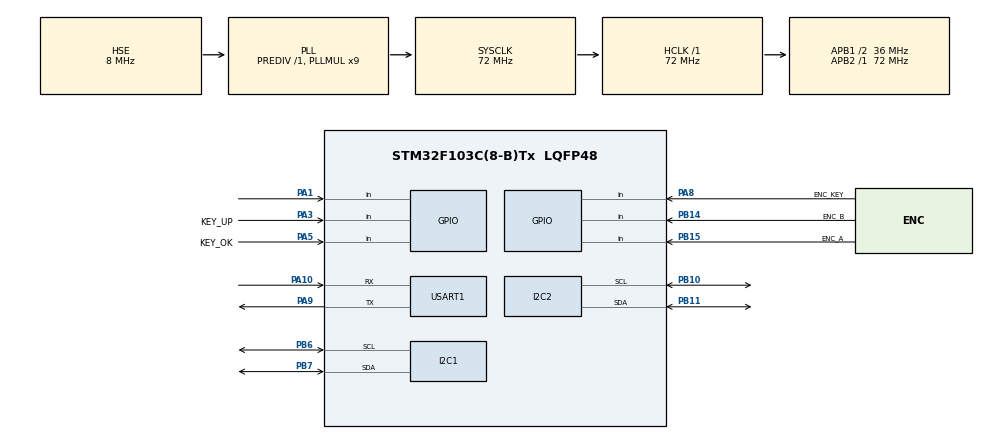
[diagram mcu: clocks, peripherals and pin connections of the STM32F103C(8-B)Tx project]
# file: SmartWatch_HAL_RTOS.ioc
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FREERTOS.Tasks01=defaultTask,0,128,StartDefaultTask,Default,NULL,Dynamic,NULL,NULL
Mcu.Family=STM32F1
Mcu.Name=STM32F103C(8-B)Tx
Mcu.Package=LQFP48
NVIC.PriorityGroup=NVIC_PRIORITYGROUP_4
NVIC.TIM2_IRQn=true\:15\:0\:false\:false\:true\:false\:false\:true\:true
NVIC.TimeBase=TIM2_IRQn
NVIC.TimeBaseIP=TIM2
PA1.GPIO_PuPd=GPIO_PULLUP
PA1.Signal=GPIO_Input
PA10.Mode=Asynchronous
PA10.Signal=USART1_RX
PA13.Mode=Serial_Wire
PA13.Signal=SYS_JTMS-SWDIO
PA14.Mode=Serial_Wire
PA14.Signal=SYS_JTCK-SWCLK
PA3.GPIO_Label=KEY_UP
PA3.GPIO_PuPd=GPIO_PULLUP
PA3.Signal=GPIO_Input
PA5.GPIO_Label=KEY_OK
PA5.GPIO_PuPd=GPIO_PULLUP
PA5.Signal=GPIO_Input
PA8.GPIO_Label=ENC_KEY
PA8.GPIO_PuPd=GPIO_PULLUP
PA8.Signal=GPIO_Input
PA9.Mode=Asynchronous
PA9.Signal=USART1_TX
PB10.Mode=I2C
PB10.Signal=I2C2_SCL
PB11.Mode=I2C
PB11.Signal=I2C2_SDA
PB14.GPIO_Label=ENC_B
PB14.GPIO_PuPd=GPIO_PULLUP
PB14.Signal=GPIO_Input
PB15.GPIO_Label=ENC_A
PB15.GPIO_PuPd=GPIO_PULLUP
PB15.Signal=GPIO_Input
PB6.Mode=I2C
PB6.Signal=I2C1_SCL
PB7.Mode=I2C
PB7.Signal=I2C1_SDA
PD0-OSC_IN.Mode=HSE-External-Oscillator
PD0-OSC_IN.Signal=RCC_OSC_IN
PD1-OSC_OUT.Mode=HSE-External-Oscillator
PD1-OSC_OUT.Signal=RCC_OSC_OUT
ProjectManager.HeapSize=0x200
ProjectManager.StackSize=0x400
ProjectManager.TargetToolchain=STM32CubeIDE
RCC.AHBFreq_Value=72000000
RCC.APB1CLKDivider=RCC_HCLK_DIV2
RCC.APB1Freq_Value=36000000
RCC.APB1TimFreq_Value=72000000
RCC.APB2Freq_Value=72000000
RCC.APB2TimFreq_Value=72000000
RCC.HCLKFreq_Value=72000000
RCC.PLLMUL=RCC_PLL_MUL9
RCC.PLLSourceVirtual=RCC_PLLSOURCE_HSE
RCC.SYSCLKFreq_VALUE=72000000
RCC.SYSCLKSource=RCC_SYSCLKSOURCE_PLLCLK
RCC.USBFreq_Value=72000000
USART1.VirtualMode=VM_ASYNC
VP_FREERTOS_VS_CMSIS_V1.Mode=CMSIS_V1
VP_SYS_VS_tim2.Mode=TIM2
board=custom

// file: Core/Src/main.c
/* USER CODE BEGIN Header */
/**
  ******************************************************************************
  * @file           : main.c
  * @brief          : Main program body
  ******************************************************************************
  * @attention
  *
  * Copyright (c) 2026 STMicroelectronics.
  * All rights reserved.
  *
  * This software is licensed under terms that can be found in the LICENSE file
  * in the root directory of this software component.
  * If no LICENSE file comes with this software, it is provided AS-IS.
  *
  ******************************************************************************
  */
/* USER CODE END Header */
#include "main.h"
#include "cmsis_os.h"
#include "i2c.h"
#include "usart.h"
#include "gpio.h"

/* USER CODE BEGIN Includes */
#include "oled.h"

/* USER CODE END Includes */

void SystemClock_Config(void);
void MX_FREERTOS_Init(void);
/* USER CODE BEGIN PFP */
extern osThreadId defaultTaskHandle;
extern osThreadId clockTaskHandle;
extern osThreadId bluetoothTaskHandle;
extern osThreadId sensorTaskHandle;
extern osThreadId uiTaskHandle;

/* USER CODE END PFP */

int main(void)
{

  /* MCU Configuration--------------------------------------------------------*/

  /* Reset of all peripherals, Initializes the Flash interface and the Systick. */
  HAL_Init();

  /* Configure the system clock */
  SystemClock_Config();

  /* Initialize all configured peripherals */
  MX_GPIO_Init();
  MX_I2C1_Init();
  MX_USART1_UART_Init();
  MX_I2C2_Init();
  /* USER CODE BEGIN 2 */
  OLED_Init();

  /* USER CODE END 2 */

  /* Call init function for freertos objects (in cmsis_os2.c) */
  MX_FREERTOS_Init();

  /* Start scheduler */
  osKernelStart();

  /* We should never get here as control is now taken by the scheduler */

  /* Infinite loop */
  while (1)
  {

  }
}

void SystemClock_Config(void)
{
  RCC_OscInitTypeDef RCC_OscInitStruct = {0};
  RCC_ClkInitTypeDef RCC_ClkInitStruct = {0};

  /** Initializes the RCC Oscillators according to the specified parameters
  * in the RCC_OscInitTypeDef structure.
  */
  RCC_OscInitStruct.OscillatorType = RCC_OSCILLATORTYPE_HSE;
  RCC_OscInitStruct.HSEState = RCC_HSE_ON;
  RCC_OscInitStruct.HSEPredivValue = RCC_HSE_PREDIV_DIV1;
  RCC_OscInitStruct.HSIState = RCC_HSI_ON;
  RCC_OscInitStruct.PLL.PLLState = RCC_PLL_ON;
  RCC_OscInitStruct.PLL.PLLSource = RCC_PLLSOURCE_HSE;
  RCC_OscInitStruct.PLL.PLLMUL = RCC_PLL_MUL9;
  if (HAL_RCC_OscConfig(&RCC_OscInitStruct) != HAL_OK)
  {
    Error_Handler();
  }

  /** Initializes the CPU, AHB and APB buses clocks
  */
  RCC_ClkInitStruct.ClockType = RCC_CLOCKTYPE_HCLK|RCC_CLOCKTYPE_SYSCLK
                              |RCC_CLOCKTYPE_PCLK1|RCC_CLOCKTYPE_PCLK2;
  RCC_ClkInitStruct.SYSCLKSource = RCC_SYSCLKSOURCE_PLLCLK;
  RCC_ClkInitStruct.AHBCLKDivider = RCC_SYSCLK_DIV1;
  RCC_ClkInitStruct.APB1CLKDivider = RCC_HCLK_DIV2;
  RCC_ClkInitStruct.APB2CLKDivider = RCC_HCLK_DIV1;

  if (HAL_RCC_ClockConfig(&RCC_ClkInitStruct, FLASH_LATENCY_2) != HAL_OK)
  {
    Error_Handler();
  }
}

void HAL_TIM_PeriodElapsedCallback(TIM_HandleTypeDef *htim)
{
  if (htim->Instance == TIM2)
  {
    HAL_IncTick();
  }
}

void Error_Handler(void)
{
  __disable_irq();
  while (1)
  {
  }
}

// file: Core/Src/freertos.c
/* USER CODE BEGIN Header */
/**
  ******************************************************************************
  * File Name          : freertos.c
  * Description        : Code for freertos applications
  ******************************************************************************
  * @attention
  *
  * Copyright (c) 2026 STMicroelectronics.
  * All rights reserved.
  *
  * This software is licensed under terms that can be found in the LICENSE file
  * in the root directory of this software component.
  * If no LICENSE file comes with this software, it is provided AS-IS.
  *
  ******************************************************************************
  */
/* USER CODE END Header */

#include "FreeRTOS.h"
#include "task.h"
#include "main.h"
#include "cmsis_os.h"

/* USER CODE BEGIN Includes */
#include "mpu6050.h"
#include "oled.h"
#include "usart.h"

/* USER CODE END Includes */

/* USER CODE BEGIN Variables */
static volatile uint32_t g_uptime_seconds = 0;
osThreadId clockTaskHandle;
osThreadId bluetoothTaskHandle;
osThreadId sensorTaskHandle;
osThreadId uiTaskHandle;

/* USER CODE END Variables */
osThreadId defaultTaskHandle;

/* USER CODE BEGIN FunctionPrototypes */
void StartClockTask(void const * argument);
void StartBluetoothTask(void const * argument);
void StartSensorTask(void const * argument);
void StartUiTask(void const * argument);

/* USER CODE END FunctionPrototypes */

void StartDefaultTask(void const * argument);

void MX_FREERTOS_Init(void); /* (MISRA C 2004 rule 8.1) */

/* GetIdleTaskMemory prototype (linked to static allocation support) */
void vApplicationGetIdleTaskMemory( StaticTask_t **ppxIdleTaskTCBBuffer, StackType_t **ppxIdleTaskStackBuffer, uint32_t *pulIdleTaskStackSize );

/* USER CODE BEGIN GET_IDLE_TASK_MEMORY */
static StaticTask_t xIdleTaskTCBBuffer;
static StackType_t xIdleStack[configMINIMAL_STACK_SIZE];

void vApplicationGetIdleTaskMemory( StaticTask_t **ppxIdleTaskTCBBuffer, StackType_t **ppxIdleTaskStackBuffer, uint32_t *pulIdleTaskStackSize )
{
  *ppxIdleTaskTCBBuffer = &xIdleTaskTCBBuffer;
  *ppxIdleTaskStackBuffer = &xIdleStack[0];
  *pulIdleTaskStackSize = configMINIMAL_STACK_SIZE;
  /* place for user code */
}
/* USER CODE END GET_IDLE_TASK_MEMORY */

void MX_FREERTOS_Init(void) {

  /* Create the thread(s) */
  /* definition and creation of defaultTask */
  osThreadDef(defaultTask, StartDefaultTask, osPriorityNormal, 0, 128);
  defaultTaskHandle = osThreadCreate(osThread(defaultTask), NULL);

  /* USER CODE BEGIN RTOS_THREADS */
  /* add threads, ... */
  osThreadDef(clockTask, StartClockTask, osPriorityNormal, 0, 128);
  clockTaskHandle = osThreadCreate(osThread(clockTask), NULL);

  osThreadDef(bluetoothTask, StartBluetoothTask, osPriorityBelowNormal, 0, 128);
  bluetoothTaskHandle = osThreadCreate(osThread(bluetoothTask), NULL);

  osThreadDef(sensorTask, StartSensorTask, osPriorityNormal, 0, 128);
  sensorTaskHandle = osThreadCreate(osThread(sensorTask), NULL);

  osThreadDef(uiTask, StartUiTask, osPriorityAboveNormal, 0, 256);
  uiTaskHandle = osThreadCreate(osThread(uiTask), NULL);
  /* USER CODE END RTOS_THREADS */

}

void StartDefaultTask(void const * argument)
{
  for(;;)
  {
    osDelay(1);
  }
}

/* USER CODE BEGIN Application */
#define UI_PAGE_COUNT 5U
#define UI_MENU_ITEM_COUNT 4U
#define UI_MENU_VISIBLE_COUNT 4U
#define UI_MENU_CURSOR_X 0U
#define UI_MENU_TEXT_X 18U
#define UI_MENU_FIRST_PAGE 1U
#define UI_MENU_PAGE_STEP 2U
#define ENCODER_STEPS_PER_UI_MOVE 4
#define CLOCK_DAY_SECONDS 86400U
#define STEP_HIGH_THRESHOLD_SQ 420000000UL
#define STEP_LOW_THRESHOLD_SQ 330000000UL
#define STEP_COOLDOWN_SAMPLES 1U

typedef enum {
  CLOCK_FIELD_HOUR = 0,
  CLOCK_FIELD_MINUTE,
  CLOCK_FIELD_SECOND
} ClockField;

static volatile uint32_t g_stopwatch_seconds = 0;
static volatile uint8_t g_stopwatch_running = 0;
static volatile uint32_t g_clock_seconds = 12U * 3600U;
static volatile uint8_t g_mpu_ready = 0;
static volatile uint8_t g_mpu_whoami = 0;
static volatile MPU6050_Data g_mpu_data;
static volatile uint32_t g_step_count = 0;
static volatile uint32_t g_step_motion = 0;
static volatile uint8_t g_step_active = 0;

static uint8_t Key_IsPressed(GPIO_TypeDef *port, uint16_t pin)
{
  return HAL_GPIO_ReadPin(port, pin) == GPIO_PIN_RESET;
}

static uint8_t Ui_MenuMove(uint8_t selection, int8_t encoder_step)
{
  if (encoder_step > 0) {
    return (uint8_t)((selection + 1U) % UI_MENU_ITEM_COUNT);
  }
  if (encoder_step < 0) {
    if (selection == 0U) {
      return (uint8_t)(UI_MENU_ITEM_COUNT - 1U);
    }
    return (uint8_t)(selection - 1U);
  }

  return selection;
}

static uint8_t Ui_MenuSelectionToPage(uint8_t selection)
{
  return (uint8_t)(selection + 1U);
}

static uint8_t Encoder_ReadState(void)
{
  uint8_t a = Key_IsPressed(ENC_A_GPIO_Port, ENC_A_Pin);
  uint8_t b = Key_IsPressed(ENC_B_GPIO_Port, ENC_B_Pin);

  return (uint8_t)((a << 1U) | b);
}

static int8_t Encoder_GetStep(void)
{
  static const int8_t transition_table[16] = {
    0, -1, 1, 0,
    1, 0, 0, -1,
    -1, 0, 0, 1,
    0, 1, -1, 0
  };
  static uint8_t last_state = 0xFFU;
  static int8_t accumulator = 0;
  uint8_t state = Encoder_ReadState();
  int8_t movement;

  if (last_state == 0xFFU) {
    last_state = state;
    return 0;
  }

  movement = transition_table[(last_state << 2U) | state];
  last_state = state;

  if (movement == 0) {
    return 0;
  }

  accumulator = (int8_t)(accumulator + movement);
  if (accumulator >= ENCODER_STEPS_PER_UI_MOVE) {
    accumulator = 0;
    return 1;
  }
  if (accumulator <= -ENCODER_STEPS_PER_UI_MOVE) {
    accumulator = 0;
    return -1;
  }

  return 0;
}

static void Ui_ShowTimeLarge(uint8_t x, uint8_t page, uint32_t seconds)
{
  char text[9];
  uint8_t hour = (uint8_t)((seconds / 3600U) % 24U);
  uint8_t minute = (uint8_t)((seconds / 60U) % 60U);
  uint8_t second = (uint8_t)(seconds % 60U);

  text[0] = (char)('0' + (hour / 10U));
  text[1] = (char)('0' + (hour % 10U));
  text[2] = ':';
  text[3] = (char)('0' + (minute / 10U));
  text[4] = (char)('0' + (minute % 10U));
  text[5] = ':';
  text[6] = (char)('0' + (second / 10U));
  text[7] = (char)('0' + (second % 10U));
  text[8] = '\0';

  OLED_ShowString2x(x, page, text);
}

static void Ui_ClearLine(uint8_t page)
{
  OLED_ShowString(0, page, "                     ");
}

static void Ui_ShowStopwatchStatus(void)
{
  Ui_ClearLine(6);
  OLED_ShowString(0, 6, g_stopwatch_running ? "Running" : "Paused");
}

static void Ui_ShowI16Fixed(uint8_t x, uint8_t page, int16_t value)
{
  char text[7];
  uint8_t index = 6U;
  uint16_t magnitude;

  text[6] = '\0';
  for (uint8_t i = 0; i < 6U; i++) {
    text[i] = ' ';
  }

  if (value < 0) {
    magnitude = (uint16_t)(-value);
  } else {
    magnitude = (uint16_t)value;
  }

  do {
    text[--index] = (char)('0' + (magnitude % 10U));
    magnitude /= 10U;
  } while (magnitude > 0U && index > 1U);

  if (value < 0 && index > 0U) {
    text[--index] = '-';
  }

  OLED_ShowString(x, page, text);
}

static void Ui_ShowU32Field(uint8_t x, uint8_t page, uint32_t value)
{
  char text[11];
  uint8_t index = 10U;

  text[10] = '\0';
  for (uint8_t i = 0; i < 10U; i++) {
    text[i] = ' ';
  }

  do {
    text[--index] = (char)('0' + (value % 10U));
    value /= 10U;
  } while (value > 0U && index > 0U);

  OLED_ShowString(x, page, text);
}

static void Ui_ShowClockTitle(uint8_t edit_mode)
{
  Ui_ClearLine(0);
  OLED_ShowString(0, 0, edit_mode ? "Clock Set" : "Clock");
}

static void Clock_AddSelectedField(ClockField field)
{
  uint32_t hour = (g_clock_seconds / 3600U) % 24U;
  uint32_t minute = (g_clock_seconds / 60U) % 60U;
  uint32_t second = g_clock_seconds % 60U;

  if (field == CLOCK_FIELD_HOUR) {
    hour = (hour + 1U) % 24U;
  } else if (field == CLOCK_FIELD_MINUTE) {
    minute = (minute + 1U) % 60U;
  } else {
    second = (second + 1U) % 60U;
  }

  g_clock_seconds = (hour * 3600U) + (minute * 60U) + second;
}

static ClockField Clock_NextField(ClockField field)
{
  return (ClockField)((field + 1U) % 3U);
}

static void Ui_ShowClockStatus(uint8_t edit_mode, ClockField field)
{
  Ui_ClearLine(6);

  if (!edit_mode) {
    OLED_ShowString(0, 6, "Normal");
  } else if (field == CLOCK_FIELD_HOUR) {
    OLED_ShowString(0, 6, "Set Hour");
  } else if (field == CLOCK_FIELD_MINUTE) {
    OLED_ShowString(0, 6, "Set Min");
  } else {
    OLED_ShowString(0, 6, "Set Sec");
  }
}

static void Ui_ShowSensorValues(void)
{
  MPU6050_Data data;

  data = g_mpu_data;

  OLED_ShowString(0, 2, "AX:");
  Ui_ShowI16Fixed(18, 2, data.ax);

  OLED_ShowString(0, 4, "AY:");
  Ui_ShowI16Fixed(18, 4, data.ay);

  OLED_ShowString(0, 6, "AZ:");
  Ui_ShowI16Fixed(18, 6, data.az);
}

static uint32_t Step_SquareI16(int16_t value)
{
  int32_t wide = value;

  return (uint32_t)(wide * wide);
}

static void Step_Update(const MPU6050_Data *data)
{
  static uint8_t cooldown = 0;
  uint32_t magnitude_sq;

  magnitude_sq = Step_SquareI16(data->ax) + Step_SquareI16(data->ay) + Step_SquareI16(data->az);
  g_step_motion = magnitude_sq / 1000000UL;

  if (cooldown > 0U) {
    cooldown--;
  }

  if (g_step_active) {
    if (magnitude_sq < STEP_LOW_THRESHOLD_SQ) {
      g_step_active = 0;
    }
  } else if (cooldown == 0U && magnitude_sq > STEP_HIGH_THRESHOLD_SQ) {
    g_step_count++;
    g_step_active = 1;
    cooldown = STEP_COOLDOWN_SAMPLES;
  }
}

static void Ui_ShowStepCount(void)
{
  OLED_ShowString(0, 2, "Steps:");
  Ui_ShowU32Field(42, 2, g_step_count);
}

static void Ui_ShowStepMotion(void)
{
  OLED_ShowString(0, 4, "Move:");
  Ui_ShowU32Field(36, 4, g_step_motion);
}

static void Ui_ShowStepStatus(void)
{
  Ui_ClearLine(6);
  OLED_ShowString(0, 6, g_step_active ? "Step Active" : "Ready");
}

static void Ui_ShowStepValues(void)
{
  Ui_ShowStepCount();
  Ui_ShowStepMotion();
  Ui_ShowStepStatus();
}

static const char *Ui_GetMenuItem(uint8_t index)
{
  static const char *items[UI_MENU_ITEM_COUNT] = {
    "Stopwatch",
    "Clock",
    "MPU6050",
    "Steps"
  };

  return items[index];
}

static uint8_t Ui_GetMenuTop(uint8_t selection)
{
  uint8_t top = 0U;

  if (selection >= (UI_MENU_VISIBLE_COUNT - 1U)) {
    top = (uint8_t)(selection - (UI_MENU_VISIBLE_COUNT - 1U));
  }
  if (top > (UI_MENU_ITEM_COUNT - UI_MENU_VISIBLE_COUNT)) {
    top = (uint8_t)(UI_MENU_ITEM_COUNT - UI_MENU_VISIBLE_COUNT);
  }

  return top;
}

static uint8_t Ui_GetMenuRow(uint8_t top, uint8_t selection)
{
  return (uint8_t)(selection - top);
}

static uint8_t Ui_GetMenuPage(uint8_t row)
{
  return (uint8_t)(UI_MENU_FIRST_PAGE + (row * UI_MENU_PAGE_STEP));
}

static void Ui_DrawMenuCursor(uint8_t row, uint8_t selected)
{
  uint8_t page = Ui_GetMenuPage(row);

  OLED_ShowString(UI_MENU_CURSOR_X, page, selected ? "->" : "  ");
}

static void Ui_UpdateMenuCursor(uint8_t old_selection, uint8_t new_selection)
{
  uint8_t old_top = Ui_GetMenuTop(old_selection);
  uint8_t new_top = Ui_GetMenuTop(new_selection);

  if (old_top != new_top) {
    return;
  }

  Ui_DrawMenuCursor(Ui_GetMenuRow(old_top, old_selection), 0U);
  Ui_DrawMenuCursor(Ui_GetMenuRow(new_top, new_selection), 1U);
}

static void Ui_DrawMenu(uint8_t selection)
{
  uint8_t top = Ui_GetMenuTop(selection);

  OLED_Clear();
  OLED_ShowString(0, 0, "Smart Watch Menu");

  for (uint8_t row = 0U; row < UI_MENU_VISIBLE_COUNT; row++) {
    uint8_t item = (uint8_t)(top + row);
    uint8_t page = Ui_GetMenuPage(row);
    Ui_DrawMenuCursor(row, item == selection);
    OLED_ShowString(UI_MENU_TEXT_X, page, Ui_GetMenuItem(item));
  }
}

static void Bluetooth_SendText(const char *text)
{
  uint16_t length = 0U;

  while (text[length] != '\0') {
    length++;
  }

  if (length > 0U) {
    HAL_UART_Transmit(&huart1, (uint8_t *)text, length, 100);
  }
}

static void Bluetooth_SendU32(uint32_t value)
{
  char text[11];
  uint8_t index = 10U;

  text[index] = '\0';
  do {
    index--;
    text[index] = (char)('0' + (value % 10U));
    value /= 10U;
  } while (value > 0U && index > 0U);

  Bluetooth_SendText(&text[index]);
}

static void Bluetooth_SendI16(int16_t value)
{
  uint16_t magnitude;

  if (value < 0) {
    Bluetooth_SendText("-");
    magnitude = (uint16_t)(-value);
  } else {
    magnitude = (uint16_t)value;
  }

  Bluetooth_SendU32(magnitude);
}

static void Bluetooth_Send2Digits(uint8_t value)
{
  char text[3];

  text[0] = (char)('0' + (value / 10U));
  text[1] = (char)('0' + (value % 10U));
  text[2] = '\0';
  Bluetooth_SendText(text);
}

static void Bluetooth_SendStepLine(uint32_t step_count)
{
  char text[24];
  char digits[11];
  uint8_t text_index = 0U;
  uint8_t digit_index = 10U;

  text[text_index++] = 'S';
  text[text_index++] = 't';
  text[text_index++] = 'e';
  text[text_index++] = 'p';
  text[text_index++] = 's';
  text[text_index++] = ':';
  text[text_index++] = ' ';

  digits[digit_index] = '\0';
  do {
    digit_index--;
    digits[digit_index] = (char)('0' + (step_count % 10U));
    step_count /= 10U;
  } while (step_count > 0U && digit_index > 0U);

  while (digits[digit_index] != '\0') {
    text[text_index++] = digits[digit_index++];
  }

  text[text_index++] = '\r';
  text[text_index++] = '\n';
  text[text_index] = '\0';

  Bluetooth_SendText(text);
}

static void Bluetooth_SendStatus(void)
{
  MPU6050_Data data = g_mpu_data;
  uint32_t seconds = g_clock_seconds;

  Bluetooth_SendStepLine(g_step_count);
  Bluetooth_SendText("Time: ");
  Bluetooth_Send2Digits((uint8_t)((seconds / 3600U) % 24U));
  Bluetooth_SendText(":");
  Bluetooth_Send2Digits((uint8_t)((seconds / 60U) % 60U));
  Bluetooth_SendText(":");
  Bluetooth_Send2Digits((uint8_t)(seconds % 60U));
  Bluetooth_SendText("\r\nAX: ");
  Bluetooth_SendI16(data.ax);
  Bluetooth_SendText("  AY: ");
  Bluetooth_SendI16(data.ay);
  Bluetooth_SendText("  AZ: ");
  Bluetooth_SendI16(data.az);
  Bluetooth_SendText("\r\n\r\n");
}

static void Ui_DrawPage(uint8_t page, uint32_t uptime_seconds, uint8_t edit_mode, ClockField field)
{
  if (page == 0U) {
    return;
  }

  OLED_Clear();

  switch (page) {
    case 0:
      OLED_ShowString(0, 0, "Smart Watch");
      OLED_ShowString(0, 2, "FreeRTOS OK");
      OLED_ShowString(0, 4, "Uptime:");
      OLED_ShowU32(48, 4, uptime_seconds);
      OLED_ShowString(84, 4, "s");
      break;

    case 1:
      OLED_ShowString(0, 0, "Stop Watch");
      Ui_ShowTimeLarge(16, 2, g_stopwatch_seconds);
      Ui_ShowStopwatchStatus();
      break;

    case 2:
      Ui_ShowClockTitle(edit_mode);
      Ui_ShowTimeLarge(16, 2, g_clock_seconds);
      Ui_ShowClockStatus(edit_mode, field);
      break;

    case 3:
      OLED_ShowString(0, 0, g_mpu_ready ? "MPU6050 OK" : "MPU6050 ERR");
      if (g_mpu_ready) {
        Ui_ShowSensorValues();
      } else {
        OLED_ShowString(0, 2, "WHO:");
        OLED_ShowU32(30, 2, g_mpu_whoami);
        OLED_ShowString(0, 4, "Check I2C2");
      }
      break;

    default:
      OLED_ShowString(0, 0, "Step Data");
      Ui_ShowStepValues();
      break;
  }
}

void StartClockTask(void const * argument)
{
  (void)argument;

  for (;;) {
    osDelay(1000);
    g_uptime_seconds++;
    if (g_stopwatch_running) {
      g_stopwatch_seconds++;
    }
    g_clock_seconds = (g_clock_seconds + 1U) % CLOCK_DAY_SECONDS;
  }
}

void StartBluetoothTask(void const * argument)
{
  (void)argument;
  uint8_t rx;
  uint32_t last_sent_step_count = g_step_count;

  for (;;) {
    while (HAL_UART_Receive(&huart1, &rx, 1, 0) == HAL_OK) {
      if (rx == 'C' || rx == 'c') {
        g_step_count = 0;
        last_sent_step_count = 0;
        Bluetooth_SendText("OK,CLEAR\r\n");
      } else if (rx == 'S' || rx == 's') {
        Bluetooth_SendStatus();
        last_sent_step_count = g_step_count;
      }
    }

    if (g_step_count > last_sent_step_count) {
      last_sent_step_count = g_step_count;
      Bluetooth_SendStepLine(last_sent_step_count);
    } else if (g_step_count < last_sent_step_count) {
      last_sent_step_count = g_step_count;
    }

    osDelay(100);
  }
}

void StartSensorTask(void const * argument)
{
  (void)argument;
  MPU6050_Data data;
  uint8_t id = 0;

  osDelay(300);
  g_mpu_ready = MPU6050_Init();
  if (MPU6050_ReadWhoAmI(&id)) {
    g_mpu_whoami = id;
  }

  for (;;) {
    if (g_mpu_ready && MPU6050_ReadData(&data)) {
      g_mpu_data = data;
      Step_Update(&data);
    } else {
      g_mpu_ready = 0;
      if (MPU6050_ReadWhoAmI(&id)) {
        g_mpu_whoami = id;
        if (id == 0x68U) {
          g_mpu_ready = MPU6050_Init();
        }
      }
    }

    osDelay(200);
  }
}

void StartUiTask(void const * argument)
{
  (void)argument;
  uint8_t current_page = 0;
  uint8_t menu_selection = 0;
  uint8_t next_was_pressed = 0;
  uint8_t up_was_pressed = 0;
  uint8_t ok_was_pressed = 0;
  uint8_t clock_edit_mode = 0;
  ClockField clock_field = CLOCK_FIELD_HOUR;
  uint32_t last_stopwatch_seconds = 0xFFFFFFFFU;
  uint32_t last_clock_seconds = 0xFFFFFFFFU;
  uint8_t last_mpu_ready = 0xFFU;
  int16_t last_ax = 0;
  int16_t last_ay = 0;
  int16_t last_az = 0;
  uint32_t last_step_count = 0xFFFFFFFFU;
  uint32_t last_step_motion = 0xFFFFFFFFU;
  uint8_t last_step_active = 0xFFU;

  Ui_DrawMenu(menu_selection);

  for (;;) {
    uint8_t next_is_pressed = Key_IsPressed(KEY_NEXT_GPIO_Port, KEY_NEXT_Pin);
    uint8_t up_is_pressed = Key_IsPressed(KEY_UP_GPIO_Port, KEY_UP_Pin);
    uint8_t ok_is_pressed = Key_IsPressed(ENC_KEY_GPIO_Port, ENC_KEY_Pin);
    int8_t encoder_step = Encoder_GetStep();

    if (next_is_pressed && !next_was_pressed) {
      if (current_page == 0U) {
        /* Keep PA1 as a no-op on the menu page. */
      } else if (current_page == 2U && clock_edit_mode) {
        clock_field = Clock_NextField(clock_field);
        Ui_ShowClockStatus(clock_edit_mode, clock_field);
      } else {
        current_page = 0U;
        clock_edit_mode = 0U;
        Ui_DrawMenu(menu_selection);
        last_stopwatch_seconds = 0xFFFFFFFFU;
        last_clock_seconds = 0xFFFFFFFFU;
        last_mpu_ready = 0xFFU;
        last_step_count = 0xFFFFFFFFU;
        last_step_motion = 0xFFFFFFFFU;
        last_step_active = 0xFFU;
      }
    }

    if (encoder_step != 0) {
      if (current_page == 0U) {
        uint8_t old_menu_selection = menu_selection;
        menu_selection = Ui_MenuMove(menu_selection, encoder_step);
        if (Ui_GetMenuTop(old_menu_selection) == Ui_GetMenuTop(menu_selection)) {
          Ui_UpdateMenuCursor(old_menu_selection, menu_selection);
        } else {
          Ui_DrawMenu(menu_selection);
        }
      } else if (current_page == 2U && clock_edit_mode) {
        if (encoder_step > 0) {
          Clock_AddSelectedField(clock_field);
          Ui_ShowTimeLarge(16, 2, g_clock_seconds);
          last_clock_seconds = g_clock_seconds;
        } else {
          clock_field = Clock_NextField(clock_field);
          Ui_ShowClockStatus(clock_edit_mode, clock_field);
        }
      }
    }

    if (up_is_pressed && !up_was_pressed) {
      if (current_page == 1U) {
        g_stopwatch_seconds = 0;
        Ui_ShowTimeLarge(16, 2, g_stopwatch_seconds);
        last_stopwatch_seconds = g_stopwatch_seconds;
      } else if (current_page == 4U) {
        g_step_count = 0;
        Ui_ShowStepValues();
        last_step_count = g_step_count;
        last_step_motion = g_step_motion;
        last_step_active = g_step_active;
      } else if (current_page == 2U && clock_edit_mode) {
        Clock_AddSelectedField(clock_field);
        Ui_ShowTimeLarge(16, 2, g_clock_seconds);
        last_clock_seconds = g_clock_seconds;
      }
    }

    if (ok_is_pressed && !ok_was_pressed) {
      if (current_page == 0U) {
        current_page = Ui_MenuSelectionToPage(menu_selection);
        Ui_DrawPage(current_page, g_uptime_seconds, clock_edit_mode, clock_field);
        last_stopwatch_seconds = 0xFFFFFFFFU;
        last_clock_seconds = 0xFFFFFFFFU;
        last_mpu_ready = 0xFFU;
        last_step_count = 0xFFFFFFFFU;
        last_step_motion = 0xFFFFFFFFU;
        last_step_active = 0xFFU;
      } else if (current_page == 1U) {
        g_stopwatch_running = !g_stopwatch_running;
        Ui_ShowStopwatchStatus();
        last_stopwatch_seconds = g_stopwatch_seconds;
      } else if (current_page == 2U) {
        clock_edit_mode = !clock_edit_mode;
        Ui_ShowClockTitle(clock_edit_mode);
        Ui_ShowClockStatus(clock_edit_mode, clock_field);
        last_clock_seconds = g_clock_seconds;
      }
    }

    next_was_pressed = next_is_pressed;
    up_was_pressed = up_is_pressed;
    ok_was_pressed = ok_is_pressed;

    if (current_page == 1U && last_stopwatch_seconds != g_stopwatch_seconds) {
      last_stopwatch_seconds = g_stopwatch_seconds;
      Ui_ShowTimeLarge(16, 2, last_stopwatch_seconds);
    } else if (current_page == 2U && last_clock_seconds != g_clock_seconds) {
      last_clock_seconds = g_clock_seconds;
      Ui_ShowTimeLarge(16, 2, last_clock_seconds);
    } else if (current_page == 3U &&
               (last_mpu_ready != g_mpu_ready ||
                last_ax != g_mpu_data.ax ||
                last_ay != g_mpu_data.ay ||
                last_az != g_mpu_data.az)) {
      if (last_mpu_ready != g_mpu_ready) {
        Ui_DrawPage(current_page, g_uptime_seconds, clock_edit_mode, clock_field);
      } else if (g_mpu_ready) {
        Ui_ShowSensorValues();
      }

      last_mpu_ready = g_mpu_ready;
      last_ax = g_mpu_data.ax;
      last_ay = g_mpu_data.ay;
      last_az = g_mpu_data.az;
    } else if (current_page == 4U &&
               (last_step_count != g_step_count ||
                last_step_motion != g_step_motion ||
                last_step_active != g_step_active)) {
      if (last_step_count != g_step_count) {
        Ui_ShowStepCount();
      }
      if (last_step_motion != g_step_motion) {
        Ui_ShowStepMotion();
      }
      if (last_step_active != g_step_active) {
        Ui_ShowStepStatus();
      }
      last_step_count = g_step_count;
      last_step_motion = g_step_motion;
      last_step_active = g_step_active;
    }

    osDelay(10);
  }
}

/* USER CODE END Application */
